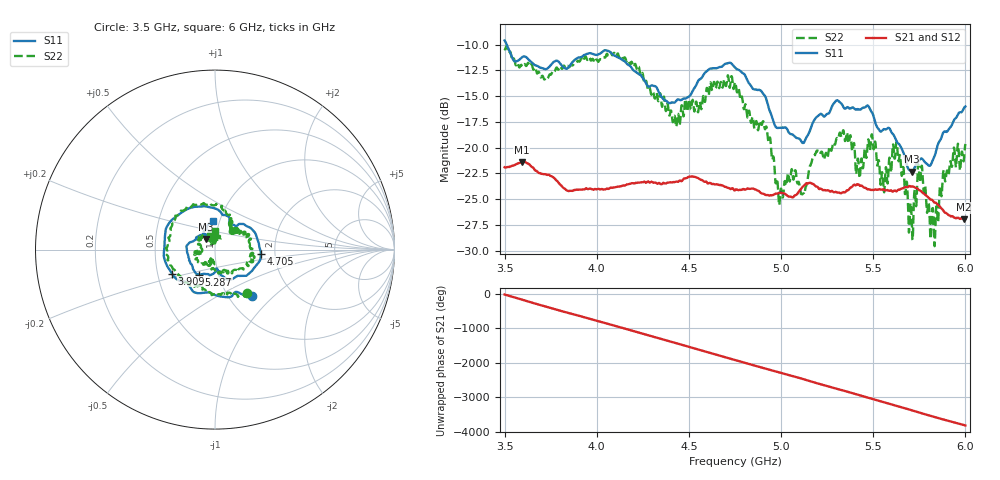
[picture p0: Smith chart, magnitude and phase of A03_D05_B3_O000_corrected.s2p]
! Created with skrf 1.9.0 (http://scikit-rf.org).
# Hz S RI R 50.0
!freq ReS11 ImS11 ReS21 ImS21 ReS12 ImS12 ReS22 ImS22
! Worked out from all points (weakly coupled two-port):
!   1601 points, 3.5 GHz to 6 GHz, reference 50 ohm
!   highest |S21| = -21.37 dB at 3.594 GHz (marker M1); lowest = -26.9 dB at 5.994 GHz (marker M2)
!   lowest |S11| = -22.3 dB at 5.709 GHz (marker M3), VSWR 1.17, Z = 45 + j5.33 ohm
!   |S11| at or under -10 dB: 3.512 GHz to end of sweep
!   |S22| runs from -29.6 to -10.1 dB; largest |S21 - S12| = 0.001
!   S11 on the Smith chart (normalised r, x): 3.5 GHz: 1.27, -0.74; 3.909 GHz: 0.59, -0.17; 4.705 GHz: 1.68, -0.09; 5.287 GHz: 0.81, -0.23; 6 GHz: 0.94, +0.30
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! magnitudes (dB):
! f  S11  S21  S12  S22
! 3.5 GHz  -9.6  -21.9  -21.9  -10.4
! 3.594 GHz  -11.2  -21.4  -21.4  -12.1
! 3.909 GHz  -11.2  -24.1  -24.0  -11.6
! 3.917 GHz  -11.2  -24.1  -24.1  -11.3
! 4.142 GHz  -11.5  -23.7  -23.7  -11.3
! 4.334 GHz  -14.5  -23.4  -23.4  -15.5
! 4.441 GHz  -15.3  -23.3  -23.3  -16.8
! 4.705 GHz  -11.8  -23.8  -23.8  -13.7
! 4.75 GHz  -12.2  -24.1  -24.1  -13.6
! 4.912 GHz  -15.0  -24.5  -24.5  -18.2
! 4.998 GHz  -18.1  -24.4  -24.4  -24.0
! 5.12 GHz  -19.5  -23.7  -23.7  -24.5
! 5.167 GHz  -17.8  -23.5  -23.5  -21.3
! 5.287 GHz  -15.7  -24.3  -24.3  -19.5
! 5.584 GHz  -18.1  -24.2  -24.1  -21.6
! 5.634 GHz  -19.6  -24.1  -24.1  -21.0
! 5.709 GHz  -22.3  -23.8  -23.7  -27.2
! 5.753 GHz  -21.1  -24.2  -24.1  -23.4
! 5.841 GHz  -20.4  -25.4  -25.3  -26.1
! 5.889 GHz  -18.4  -26.3  -26.3  -23.2
! 5.994 GHz  -16.1  -26.9  -26.9  -20.8
! 6 GHz  -16.0  -26.9  -26.9  -19.6
